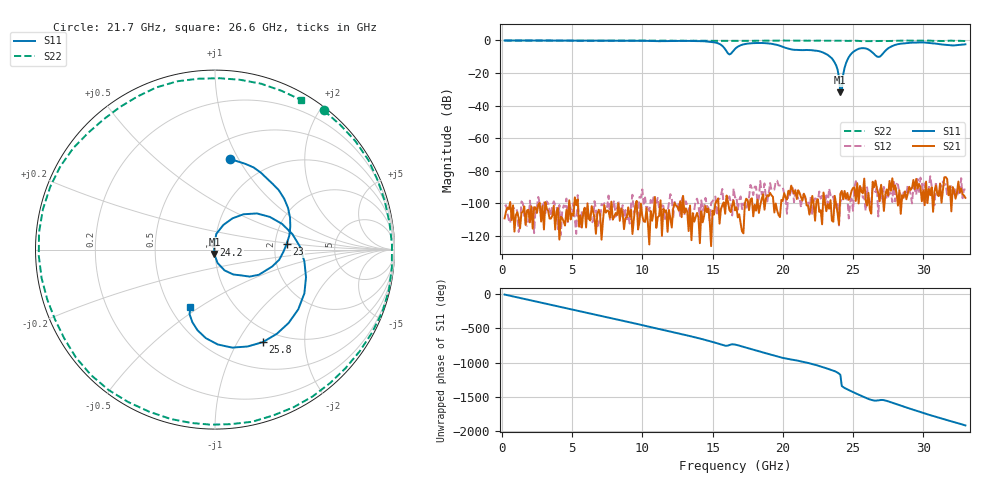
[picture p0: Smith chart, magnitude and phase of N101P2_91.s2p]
# GHZ S RI R 50
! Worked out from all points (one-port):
!   329 points, 200 MHz to 33 GHz, reference 50 ohm
!   lowest |S11| = -31.9 dB at 24.1 GHz (marker M1), VSWR 1.05, Z = 49.6 - j2.49 ohm
!   |S11| at or under -10 dB: 23.36 GHz to 24.72 GHz (1.36 GHz wide, 5.66 % of centre); 26.76821 GHz to 26.87793 GHz (109.7 MHz wide, 0.409 % of centre)
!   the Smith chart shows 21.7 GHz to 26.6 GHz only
!   S11 on the Smith chart (normalised r, x): 21.7 GHz: 0.67, +0.92; 23 GHz: 2.32, +0.16; 24.2 GHz: 0.99, +0.05; 25.8 GHz: 0.83, -1.28; 26.6 GHz: 0.63, -0.46
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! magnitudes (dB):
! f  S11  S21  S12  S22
! 200 MHz  0.0  -109.3  -101.7  0.0
! 5.7 GHz  -0.1  -115.0  -104.8  -0.1
! 11.2 GHz  -0.4  -107.8  -103.5  -0.1
! 15.2 GHz  -1.3  -100.1  -95.9  -0.2
! 16.2 GHz  -8.5  -104.2  -95.9  -0.3
! 16.6 GHz  -5.2  -104.4  -96.6  -0.3
! 18.5 GHz  -1.5  -97.4  -94.6  -0.1
! 21.7 GHz  -5.8  -101.4  -99.1  -0.1
! 22.1 GHz  -6.0  -95.5  -107.3  -0.1
! 23 GHz  -8.0  -99.3  -101.1  -0.2
! 23.8 GHz  -15.3  -100.8  -102.1  -0.2
! 24 GHz  -22.4  -113.2  -113.7  -0.2
! 24.1 GHz  -31.9  -94.2  -99.0  -0.2
! 24.2 GHz  -31.2  -92.4  -98.2  -0.2
! 24.3 GHz  -21.1  -97.6  -98.9  -0.2
! 24.4 GHz  -16.8  -92.5  -93.0  -0.2
! 24.7 GHz  -10.2  -98.0  -109.4  -0.2
! 25.8 GHz  -4.7  -84.9  -96.2  -0.4
! 26.6 GHz  -9.2  -86.1  -93.2  -0.3
! 27.6 GHz  -4.3  -86.4  -93.9  -0.3
! 29.2 GHz  -1.3  -90.5  -100.1  -0.1
! 33 GHz  -2.3  -96.7  -91.6  -0.3
